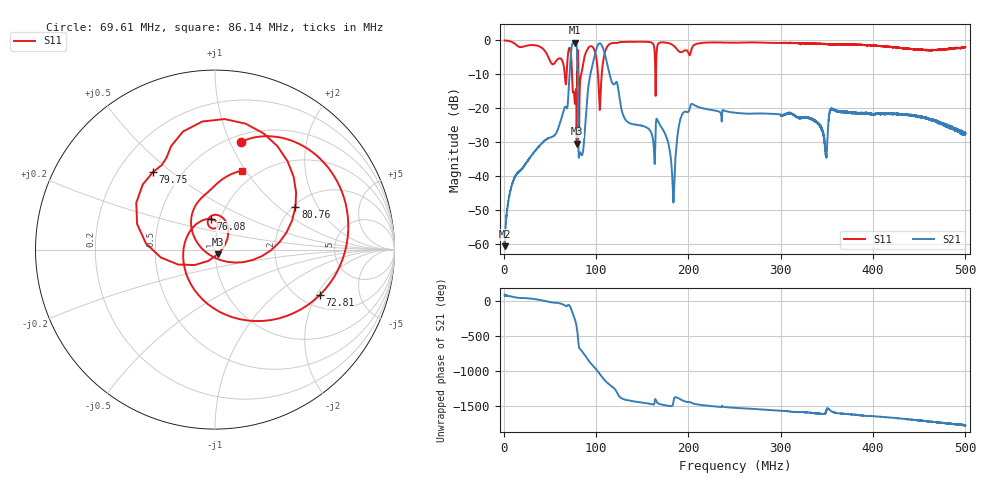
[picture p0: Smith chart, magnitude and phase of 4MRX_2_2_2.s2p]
! NanoVNA-App
! Date: 2026-08-19 14:18:58
! Start: 1MHz Stop: 500MHz Points: 6401
! S-Parameter data: F S11 S21 S12 S22
# Hz S RI R 50
!  Frequency  S11_Real  S11_Imag  S21_Real  S21_Imag  S12_Real  S12_Imag  S22_Real  S22_Imag
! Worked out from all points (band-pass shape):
!   6401 points, 1 MHz to 500 MHz, reference 50 ohm
!   highest |S21| = -0.68 dB at 76.79 MHz (marker M1); lowest = -60.5 dB at 1 MHz (marker M2)
!   |S21| within 3 dB of the highest: 72.95 MHz to 79.4 MHz (6.457 MHz wide, 8.48 % of centre); 99.23 MHz to 109.3 MHz (10.03 MHz wide, 9.62 % of centre)
!   lowest |S11| = -30.3 dB at 79.05 MHz (marker M3), VSWR 1.06, Z = 51.6 - j2.62 ohm
!   |S11| at or under -10 dB: 74.01 MHz to 79.37 MHz (5.357 MHz wide, 6.98 % of centre); 81.06 MHz to 83.87 MHz (2.802 MHz wide, 3.4 % of centre); 102.1 MHz to 106.2 MHz (4.015 MHz wide, 3.85 % of centre) (the widest 3 of 5)
!   S12 and S22 are empty: the file has one direction only
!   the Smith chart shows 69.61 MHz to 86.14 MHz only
!   S11 on the Smith chart (normalised r, x): 69.61 MHz: 0.57, +1.10; 72.81 MHz: 2.50, -2.13; 76.08 MHz: 0.90, +0.32; 79.75 MHz: 0.35, +0.43; 80.76 MHz: 2.06, +1.31; 86.14 MHz: 0.86, +0.96
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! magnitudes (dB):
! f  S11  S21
! 1 MHz  0.0  -60.5
! 11.6 MHz  -0.8  -40.4
! 69.61 MHz  -4.2  -17.9
! 72.81 MHz  -3.9  -4.1
! 76.08 MHz  -15.3  -0.7
! 76.79 MHz  -17.5  -0.7
! 79.05 MHz  -30.3  -1.5
! 79.75 MHz  -5.1  -8.6
! 80.76 MHz  -5.9  -26.4
! 84.19 MHz  -9.6  -33.7
! 86.14 MHz  -6.7  -32.1
! 96.67 MHz  -2.0  -6.6
! 103.7 MHz  -19.0  -0.8
! 112.3 MHz  -1.7  -7.1
! 132.4 MHz  -0.4  -23.4
! 167.4 MHz  -1.0  -23.9
! 183.5 MHz  -1.4  -46.5
! 194.8 MHz  -3.1  -21.2
! 250.5 MHz  -0.6  -21.2
! 333.7 MHz  -0.9  -23.0
! 416.9 MHz  -1.9  -21.7
! 500 MHz  -1.9  -27.2
